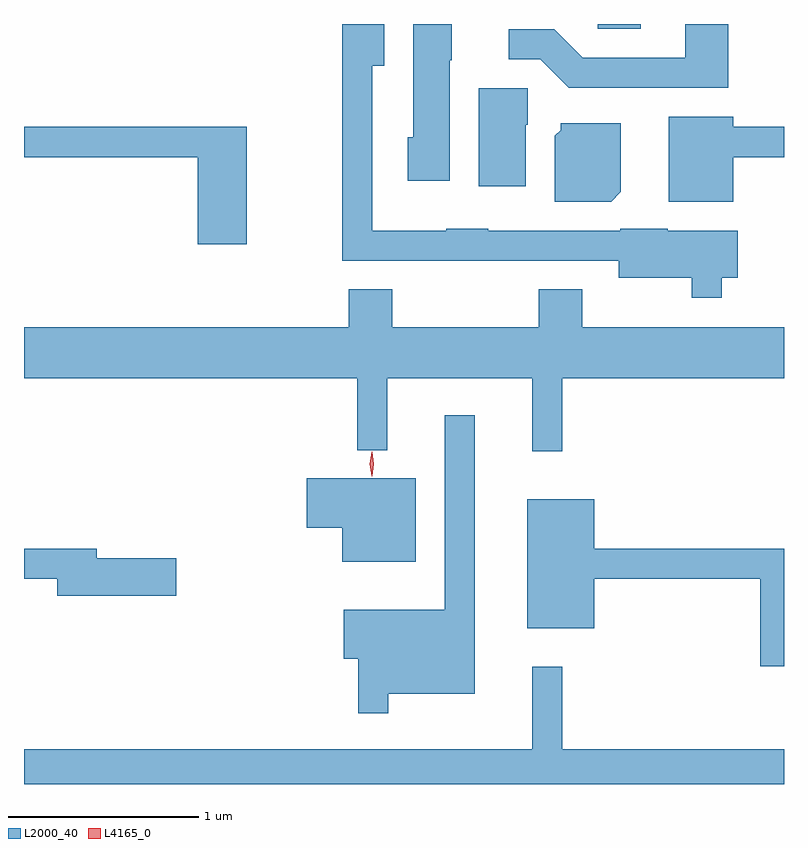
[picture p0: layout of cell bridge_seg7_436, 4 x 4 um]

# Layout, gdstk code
import gdstk
lib = gdstk.Library(unit=1e-6, precision=1e-09)
def R(c, l, rs):  # rectangles x0, y0, x1, y1
    for r in rs: c.add(gdstk.rectangle(r[:2], r[2:], *l))
def P(c, l, *ps):  # polygons
    for p in ps: c.add(gdstk.Polygon(p, *l))
L2000_40 = (2000, 40)
L4165_0 = (4165, 0)

bridge_seg7_436 = lib.new_cell('bridge_seg7_436')
R(bridge_seg7_436, L2000_40, [(1240.051,1718.376,1240.279,1718.401)])
P(bridge_seg7_436, L2000_40, [(1240.704,1717.066),(1240.789,1717.066),(1240.789,1717.314),(1240.42,1717.314),(1240.42,1717.324),(1240.17,1717.324),(1240.17,1717.314),(1239.475,1717.314),(1239.475,1717.324),(1239.255,1717.324),(1239.255,1717.314),(1238.864,1717.314),(1238.864,1718.181),(1238.929,1718.181),(1238.929,1718.401),(1238.706,1718.401),(1238.706,1717.156),(1240.161,1717.156),(1240.161,1717.066),(1240.546,1717.066),(1240.546,1716.961),(1240.704,1716.961)],
  [(1240.739,1718.401),(1240.511,1718.401),(1240.511,1718.224),(1239.972,1718.224),(1239.822,1718.374),(1239.583,1718.374),(1239.583,1718.216),(1239.749,1718.216),(1239.899,1718.066),(1240.739,1718.066)],
  [(1239.274,1718.21),(1239.284,1718.21),(1239.284,1718.401),(1239.081,1718.401),(1239.081,1717.804),(1239.051,1717.804),(1239.051,1717.576),(1239.274,1717.576)],
  [(1239.674,1717.87),(1239.684,1717.87),(1239.684,1718.064),(1239.426,1718.064),(1239.426,1717.546),(1239.674,1717.546)],
  [(1240.764,1717.701),(1241.032,1717.701),(1241.032,1717.859),(1240.764,1717.859),(1240.764,1717.914),(1240.426,1717.914),(1240.426,1717.466),(1240.764,1717.466)],
  [(1240.174,1717.517),(1240.174,1717.879),(1239.856,1717.879),(1239.856,1717.842),(1239.826,1717.812),(1239.826,1717.466),(1240.124,1717.466)],
  [(1238.204,1717.859),(1237.032,1717.859),(1237.032,1717.701),(1237.946,1717.701),(1237.946,1717.241),(1238.204,1717.241)],
  [(1239.864,1716.536),(1241.032,1716.536),(1241.032,1716.804),(1239.969,1716.804),(1239.969,1717.004),(1239.741,1717.004),(1239.741,1716.804),(1238.969,1716.804),(1238.969,1717.004),(1238.741,1717.004),(1238.741,1716.804),(1237.032,1716.804),(1237.032,1716.536),(1238.786,1716.536),(1238.786,1716.158),(1238.944,1716.158),(1238.944,1716.536),(1239.706,1716.536),(1239.706,1716.153),(1239.864,1716.153)],
  [(1238.949,1714.876),(1239.404,1714.876),(1239.404,1716.343),(1239.246,1716.343),(1239.246,1715.319),(1238.716,1715.319),(1238.716,1715.061),(1238.791,1715.061),(1238.791,1714.773),(1238.949,1714.773)],
  [(1239.094,1716.009),(1238.521,1716.009),(1238.521,1715.751),(1238.706,1715.751),(1238.706,1715.571),(1239.094,1715.571)],
  [(1241.032,1715.639),(1240.034,1715.639),(1240.034,1715.899),(1239.681,1715.899),(1239.681,1715.221),(1240.034,1715.221),(1240.034,1715.481),(1240.906,1715.481),(1240.906,1715.021),(1241.032,1715.021)],
  [(1237.834,1715.589),(1237.414,1715.589),(1237.414,1715.639),(1237.032,1715.639),(1237.032,1715.481),(1237.206,1715.481),(1237.206,1715.391),(1237.834,1715.391)],
  [(1241.032,1714.584),(1239.864,1714.584),(1239.864,1715.018),(1239.706,1715.018),(1239.706,1714.584),(1237.032,1714.584),(1237.032,1714.401),(1241.032,1714.401)])
P(bridge_seg7_436, L4165_0, [(1238.863,1716.02),(1238.863,1716.021),(1238.853,1716.086),(1238.863,1716.151),(1238.863,1716.151),(1238.864,1716.151),(1238.873,1716.086),(1238.864,1716.021)])

lib.write_gds('bridge_seg7_436.gds')
